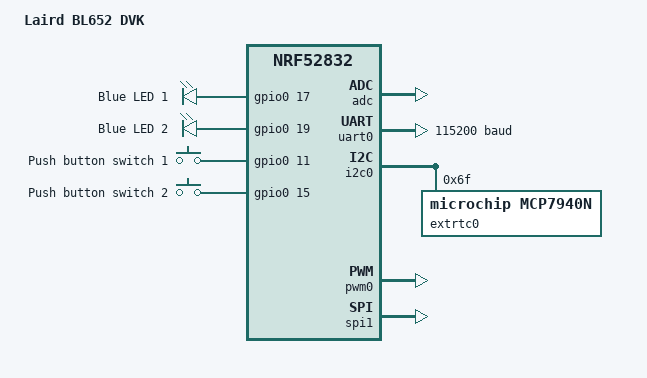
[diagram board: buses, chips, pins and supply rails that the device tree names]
/*
 * Copyright (c) 2019 Laird Connectivity
 * Copyright (c) 2023 Nordic Semiconductor ASA
 *
 * SPDX-License-Identifier: Apache-2.0
 */

/dts-v1/;
#include <nordic/nrf52832_qfaa.dtsi>
#include "bl652_dvk-pinctrl.dtsi"

/ {
	model = "Laird BL652 DVK";
	compatible = "laird,bl652_dvk";

	chosen {
		zephyr,console = &uart0;
		zephyr,shell-uart = &uart0;
		zephyr,uart-mcumgr = &uart0;
		zephyr,bt-mon-uart = &uart0;
		zephyr,bt-c2h-uart = &uart0;
		zephyr,sram = &sram0;
		zephyr,flash = &flash0;
		zephyr,code-partition = &slot0_partition;
	};

	leds {
		compatible = "gpio-leds";
		led1: led_1 {
			gpios = <&gpio0 17 GPIO_ACTIVE_HIGH>;
			label = "Blue LED 1";
		};
		led2: led_2 {
			gpios = <&gpio0 19 GPIO_ACTIVE_HIGH>;
			label = "Blue LED 2";
		};
	};

	buttons {
		compatible = "gpio-keys";
		button1: button_1 {
			gpios = <&gpio0 11 GPIO_PULL_UP>;
			label = "Push button switch 1";
		};
		button2: button_2 {
			gpios = <&gpio0 15 GPIO_PULL_UP>;
			label = "Push button switch 2";
		};
	};

	/* These aliases are provided for compatibility with samples */
	aliases {
		led0 = &led1;
		led1 = &led2;
		sw0 = &button1;
		sw1 = &button2;
		mcuboot-button0 = &button1;
		mcuboot-led0 = &led1;
		watchdog0 = &wdt0;
		bbram0 = &extrtc0;
	};
};

&adc {
	status = "okay";
};

&gpiote {
	status = "okay";
};

&gpio0 {
	status = "okay";
};

&uart0 {
	status = "okay";
	compatible = "nordic,nrf-uart";
	current-speed = <115200>;
	pinctrl-0 = <&uart0_default>;
	pinctrl-1 = <&uart0_sleep>;
	pinctrl-names = "default", "sleep";
};

&i2c0 {
	compatible = "nordic,nrf-twi";
	status = "okay";

	pinctrl-0 = <&i2c0_default>;
	pinctrl-1 = <&i2c0_sleep>;
	pinctrl-names = "default", "sleep";
	dac0: mcp4725@60 {
		/* MCP4725 not populated at factory */
		compatible = "microchip,mcp4725";
		reg = <0x60>;
		#io-channel-cells = <1>;
		status = "disabled";
	};

	extrtc0: mcp7940n@6f {
		compatible = "microchip,mcp7940n";
		reg = <0x6f>;
		status = "okay";
	};
};

&pwm0 {
	status = "okay";
	pinctrl-0 = <&pwm0_default>;
	pinctrl-1 = <&pwm0_sleep>;
	pinctrl-names = "default", "sleep";
};

&spi0 {
	compatible = "nordic,nrf-spi";
	/* Cannot be used together with i2c0. */
	/* status = "okay"; */
	cs-gpios = <&gpio0 22 GPIO_ACTIVE_LOW>;
	pinctrl-0 = <&spi0_default>;
	pinctrl-1 = <&spi0_sleep>;
	pinctrl-names = "default", "sleep";
};

&spi1 {
	compatible = "nordic,nrf-spi";
	status = "okay";
	cs-gpios = <&gpio0 12 GPIO_ACTIVE_LOW>;
	pinctrl-0 = <&spi1_default>;
	pinctrl-1 = <&spi1_sleep>;
	pinctrl-names = "default", "sleep";
};

&flash0 {

	partitions {
		compatible = "fixed-partitions";
		#address-cells = <1>;
		#size-cells = <1>;

		boot_partition: partition@0 {
			label = "mcuboot";
			reg = <0x00000000 0xc000>;
		};
		slot0_partition: partition@c000 {
			label = "image-0";
			reg = <0x0000C000 0x32000>;
		};
		slot1_partition: partition@3e000 {
			label = "image-1";
			reg = <0x0003E000 0x32000>;
		};
		scratch_partition: partition@70000 {
			label = "image-scratch";
			reg = <0x00070000 0xa000>;
		};
		storage_partition: partition@7a000 {
			label = "storage";
			reg = <0x0007a000 0x00006000>;
		};
	};
};
